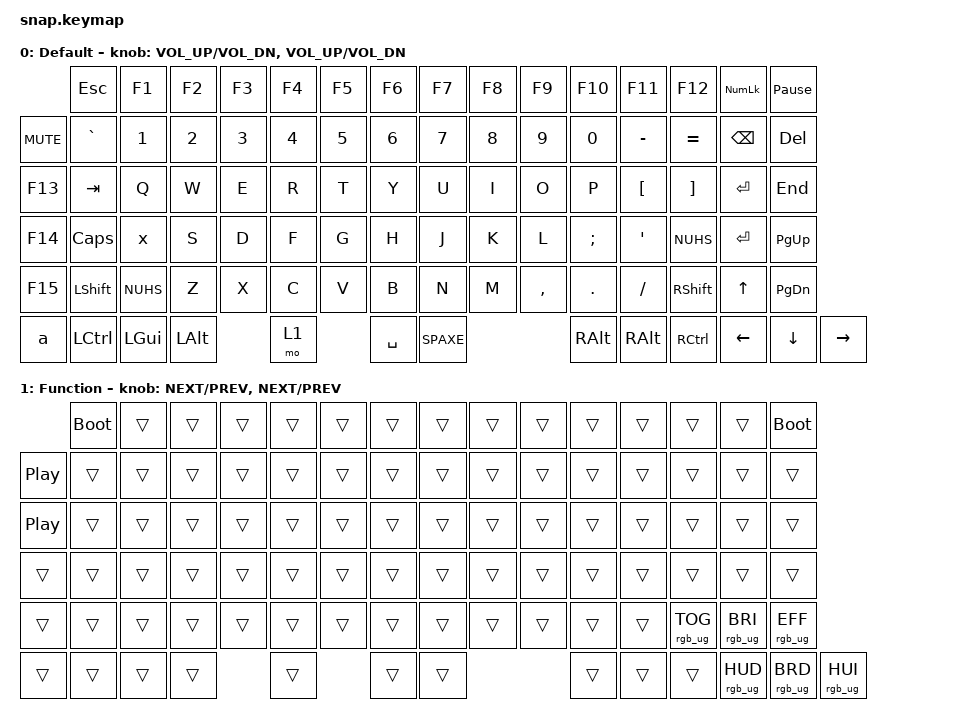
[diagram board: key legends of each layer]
/*
 * Copyright (c) 2022 The ZMK Contributors
 *
 * SPDX-License-Identifier: MIT
 */

#include <behaviors.dtsi>
#include <dt-bindings/zmk/keys.h>
#include <dt-bindings/zmk/rgb.h>

/ {
    sensors {
        compatible = "zmk,keymap-sensors";
        sensors = <&left_encoder &right_encoder>;
    };

    combos {
        compatible = "zmk,combos";

        new_combo {
            bindings = <&trans>;
            key-positions = <0>;
        };
    };

    keymap {
        compatible = "zmk,keymap";


		default_layer {
			label = "Default";
			sensor-bindings = <&inc_dec_kp C_VOL_UP C_VOL_DN &inc_dec_kp C_VOL_UP C_VOL_DN>;
			bindings = <
             &kp ESC     &kp F1   &kp F2   &kp F3   &kp F4   &kp F5   &kp F6     &kp F7   &kp F8   &kp F9    &kp F10  &kp F11     &kp F12     &kp KP_NUM   &kp PAUSE_BREAK
&kp C_MUTE   &kp GRAVE   &kp N1   &kp N2   &kp N3   &kp N4   &kp N5   &kp N6     &kp N7   &kp N8   &kp N9    &kp N0   &kp MINUS   &kp EQUAL   &kp BSPC     &kp DEL    
&kp F13      &kp TAB     &kp Q    &kp W    &kp E    &kp R             &kp T      &kp Y    &kp U    &kp I     &kp O    &kp P       &kp LBKT    &kp RBKT     &kp RET    &kp END
&kp F14      &kp CLCK    &kp x    &kp S    &kp D    &kp F             &kp G      &kp H    &kp J    &kp K     &kp L    &kp SEMI    &kp SQT     &kp NUHS     &kp RET    &kp PG_UP
&kp F15      &kp LSHFT   &kp NUHS &kp Z    &kp X    &kp C    &kp V    &kp B      &kp N    &kp M    &kp COMMA &kp DOT  &kp FSLH    &kp RSHFT                &kp UP     &kp PG_DN
&kp a        &kp LCTRL   &kp LGUI &kp LALT          &mo 1            &kp SPACE    &kp SPAXE                  &kp RALT &kp RALT    &kp RCTRL   &kp LEFT     &kp DOWN   &kp RIGHT
			>;
		};

        function_layer {
            label = "Function";
            sensor-bindings = <&inc_dec_kp C_NEXT C_PREV &inc_dec_kp C_NEXT C_PREV>;
            bindings = <
&bootloader  &trans  &trans  &trans  &trans  &trans  &trans          &trans  &trans  &trans  &trans  &trans  &trans           &trans      &bootloader
   &kp C_PP  &trans  &trans  &trans  &trans  &trans  &trans  &trans          &trans  &trans  &trans  &trans  &trans           &trans           &trans           &trans         &kp C_PP
     &trans  &trans  &trans  &trans  &trans  &trans          &trans          &trans  &trans  &trans  &trans  &trans           &trans           &trans           &trans           &trans
     &trans  &trans  &trans  &trans  &trans  &trans          &trans          &trans  &trans  &trans  &trans  &trans           &trans           &trans                            &trans
     &trans  &trans  &trans  &trans  &trans  &trans  &trans  &trans          &trans  &trans  &trans  &trans  &trans  &rgb_ug RGB_TOG                   &rgb_ug RGB_BRI  &rgb_ug RGB_EFF
     &trans  &trans  &trans  &trans          &trans          &trans          &trans                  &trans  &trans           &trans  &rgb_ug RGB_HUD  &rgb_ug RGB_BRD  &rgb_ug RGB_HUI
            >;
        };
    };
};

&nice_view_spi {
    cs-gpios = <&gpio1 1 GPIO_ACTIVE_HIGH>;
};
